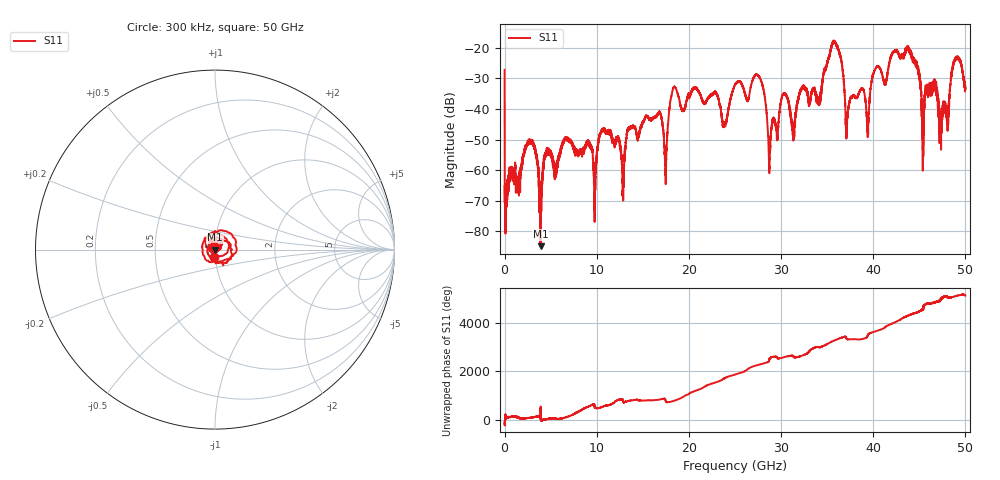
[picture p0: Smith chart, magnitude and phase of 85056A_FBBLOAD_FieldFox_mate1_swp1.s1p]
!Created with skrf (http://scikit-rf.org).
# Hz S RI R 50.0
!freq ReS11 ImS11
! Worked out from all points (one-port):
!   10001 points, 300 kHz to 50 GHz, reference 50 ohm
!   lowest |S11| = -84.9 dB at 3.9 GHz (marker M1), VSWR 1.00, Z = 50 + j0.00281 ohm
!   |S11| at or under -10 dB: start of sweep to end of sweep
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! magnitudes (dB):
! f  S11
! 300 kHz  -27.2
! 255.3 MHz  -65.4
! 2.795 GHz  -50.9
! 3.9 GHz  -84.9
! 4.53 GHz  -53.9
! 6.25 GHz  -51.5
! 9.775 GHz  -67.3
! 12.5 GHz  -52.0
! 16.73 GHz  -41.1
! 17.46 GHz  -61.7
! 18.75 GHz  -34.8
! 23.85 GHz  -45.5
! 25 GHz  -32.1
! 27.64 GHz  -29.5
! 28.76 GHz  -58.3
! 30.3 GHz  -35.1
! 31.25 GHz  -46.3
! 32.31 GHz  -33.1
! 34.13 GHz  -37.8
! 35.71 GHz  -18.2
! 37.5 GHz  -36.7
! 39.39 GHz  -46.3
! 40.27 GHz  -26.7
! 43.75 GHz  -20.0
! 45.42 GHz  -51.4
! 48 GHz  -42.1
! 49.06 GHz  -23.4
! 50 GHz  -33.5
